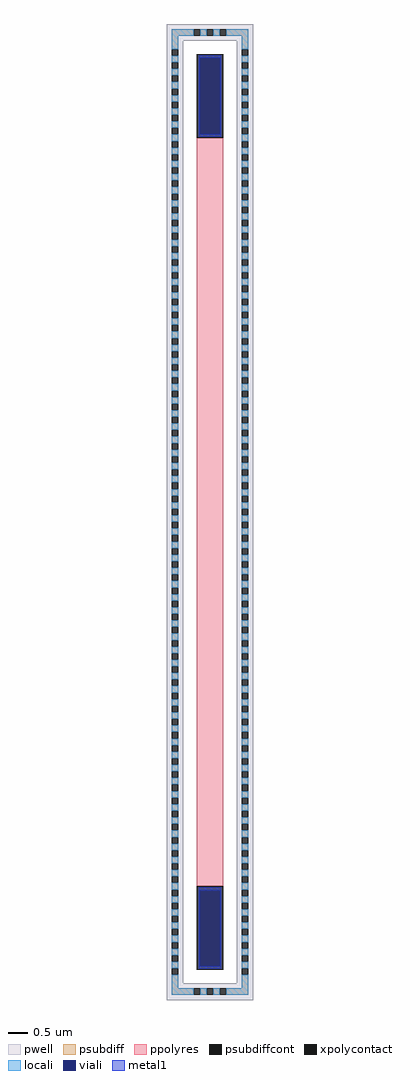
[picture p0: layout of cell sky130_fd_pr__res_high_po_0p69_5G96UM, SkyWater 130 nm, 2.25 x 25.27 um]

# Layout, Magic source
magic
tech sky130A
magscale 1 2
<< pwell >>
rect -225 2441 225 2527
rect -225 -2441 -139 2441
rect 139 -2441 225 2441
rect -225 -2527 225 -2441
<< psubdiff >>
rect -199 2467 -85 2501
rect -51 2467 -17 2501
rect 17 2467 51 2501
rect 85 2467 199 2501
rect -199 2397 -165 2467
rect 165 2397 199 2467
rect -199 2329 -165 2363
rect -199 2261 -165 2295
rect -199 2193 -165 2227
rect -199 2125 -165 2159
rect -199 2057 -165 2091
rect -199 1989 -165 2023
rect -199 1921 -165 1955
rect -199 1853 -165 1887
rect -199 1785 -165 1819
rect -199 1717 -165 1751
rect -199 1649 -165 1683
rect -199 1581 -165 1615
rect -199 1513 -165 1547
rect -199 1445 -165 1479
rect -199 1377 -165 1411
rect -199 1309 -165 1343
rect -199 1241 -165 1275
rect -199 1173 -165 1207
rect -199 1105 -165 1139
rect -199 1037 -165 1071
rect -199 969 -165 1003
rect -199 901 -165 935
rect -199 833 -165 867
rect -199 765 -165 799
rect -199 697 -165 731
rect -199 629 -165 663
rect -199 561 -165 595
rect -199 493 -165 527
rect -199 425 -165 459
rect -199 357 -165 391
rect -199 289 -165 323
rect -199 221 -165 255
rect -199 153 -165 187
rect -199 85 -165 119
rect -199 17 -165 51
rect -199 -51 -165 -17
rect -199 -119 -165 -85
rect -199 -187 -165 -153
rect -199 -255 -165 -221
rect -199 -323 -165 -289
rect -199 -391 -165 -357
rect -199 -459 -165 -425
rect -199 -527 -165 -493
rect -199 -595 -165 -561
rect -199 -663 -165 -629
rect -199 -731 -165 -697
rect -199 -799 -165 -765
rect -199 -867 -165 -833
rect -199 -935 -165 -901
rect -199 -1003 -165 -969
rect -199 -1071 -165 -1037
rect -199 -1139 -165 -1105
rect -199 -1207 -165 -1173
rect -199 -1275 -165 -1241
rect -199 -1343 -165 -1309
rect -199 -1411 -165 -1377
rect -199 -1479 -165 -1445
rect -199 -1547 -165 -1513
rect -199 -1615 -165 -1581
rect -199 -1683 -165 -1649
rect -199 -1751 -165 -1717
rect -199 -1819 -165 -1785
rect -199 -1887 -165 -1853
rect -199 -1955 -165 -1921
rect -199 -2023 -165 -1989
rect -199 -2091 -165 -2057
rect -199 -2159 -165 -2125
rect -199 -2227 -165 -2193
rect -199 -2295 -165 -2261
rect -199 -2363 -165 -2329
rect 165 2329 199 2363
rect 165 2261 199 2295
rect 165 2193 199 2227
rect 165 2125 199 2159
rect 165 2057 199 2091
rect 165 1989 199 2023
rect 165 1921 199 1955
rect 165 1853 199 1887
rect 165 1785 199 1819
rect 165 1717 199 1751
rect 165 1649 199 1683
rect 165 1581 199 1615
rect 165 1513 199 1547
rect 165 1445 199 1479
rect 165 1377 199 1411
rect 165 1309 199 1343
rect 165 1241 199 1275
rect 165 1173 199 1207
rect 165 1105 199 1139
rect 165 1037 199 1071
rect 165 969 199 1003
rect 165 901 199 935
rect 165 833 199 867
rect 165 765 199 799
rect 165 697 199 731
rect 165 629 199 663
rect 165 561 199 595
rect 165 493 199 527
rect 165 425 199 459
rect 165 357 199 391
rect 165 289 199 323
rect 165 221 199 255
rect 165 153 199 187
rect 165 85 199 119
rect 165 17 199 51
rect 165 -51 199 -17
rect 165 -119 199 -85
rect 165 -187 199 -153
rect 165 -255 199 -221
rect 165 -323 199 -289
rect 165 -391 199 -357
rect 165 -459 199 -425
rect 165 -527 199 -493
rect 165 -595 199 -561
rect 165 -663 199 -629
rect 165 -731 199 -697
rect 165 -799 199 -765
rect 165 -867 199 -833
rect 165 -935 199 -901
rect 165 -1003 199 -969
rect 165 -1071 199 -1037
rect 165 -1139 199 -1105
rect 165 -1207 199 -1173
rect 165 -1275 199 -1241
rect 165 -1343 199 -1309
rect 165 -1411 199 -1377
rect 165 -1479 199 -1445
rect 165 -1547 199 -1513
rect 165 -1615 199 -1581
rect 165 -1683 199 -1649
rect 165 -1751 199 -1717
rect 165 -1819 199 -1785
rect 165 -1887 199 -1853
rect 165 -1955 199 -1921
rect 165 -2023 199 -1989
rect 165 -2091 199 -2057
rect 165 -2159 199 -2125
rect 165 -2227 199 -2193
rect 165 -2295 199 -2261
rect 165 -2363 199 -2329
rect -199 -2467 -165 -2397
rect 165 -2467 199 -2397
rect -199 -2501 -85 -2467
rect -51 -2501 -17 -2467
rect 17 -2501 51 -2467
rect 85 -2501 199 -2467
<< psubdiffcont >>
rect -85 2467 -51 2501
rect -17 2467 17 2501
rect 51 2467 85 2501
rect -199 2363 -165 2397
rect -199 2295 -165 2329
rect -199 2227 -165 2261
rect -199 2159 -165 2193
rect -199 2091 -165 2125
rect -199 2023 -165 2057
rect -199 1955 -165 1989
rect -199 1887 -165 1921
rect -199 1819 -165 1853
rect -199 1751 -165 1785
rect -199 1683 -165 1717
rect -199 1615 -165 1649
rect -199 1547 -165 1581
rect -199 1479 -165 1513
rect -199 1411 -165 1445
rect -199 1343 -165 1377
rect -199 1275 -165 1309
rect -199 1207 -165 1241
rect -199 1139 -165 1173
rect -199 1071 -165 1105
rect -199 1003 -165 1037
rect -199 935 -165 969
rect -199 867 -165 901
rect -199 799 -165 833
rect -199 731 -165 765
rect -199 663 -165 697
rect -199 595 -165 629
rect -199 527 -165 561
rect -199 459 -165 493
rect -199 391 -165 425
rect -199 323 -165 357
rect -199 255 -165 289
rect -199 187 -165 221
rect -199 119 -165 153
rect -199 51 -165 85
rect -199 -17 -165 17
rect -199 -85 -165 -51
rect -199 -153 -165 -119
rect -199 -221 -165 -187
rect -199 -289 -165 -255
rect -199 -357 -165 -323
rect -199 -425 -165 -391
rect -199 -493 -165 -459
rect -199 -561 -165 -527
rect -199 -629 -165 -595
rect -199 -697 -165 -663
rect -199 -765 -165 -731
rect -199 -833 -165 -799
rect -199 -901 -165 -867
rect -199 -969 -165 -935
rect -199 -1037 -165 -1003
rect -199 -1105 -165 -1071
rect -199 -1173 -165 -1139
rect -199 -1241 -165 -1207
rect -199 -1309 -165 -1275
rect -199 -1377 -165 -1343
rect -199 -1445 -165 -1411
rect -199 -1513 -165 -1479
rect -199 -1581 -165 -1547
rect -199 -1649 -165 -1615
rect -199 -1717 -165 -1683
rect -199 -1785 -165 -1751
rect -199 -1853 -165 -1819
rect -199 -1921 -165 -1887
rect -199 -1989 -165 -1955
rect -199 -2057 -165 -2023
rect -199 -2125 -165 -2091
rect -199 -2193 -165 -2159
rect -199 -2261 -165 -2227
rect -199 -2329 -165 -2295
rect -199 -2397 -165 -2363
rect 165 2363 199 2397
rect 165 2295 199 2329
rect 165 2227 199 2261
rect 165 2159 199 2193
rect 165 2091 199 2125
rect 165 2023 199 2057
rect 165 1955 199 1989
rect 165 1887 199 1921
rect 165 1819 199 1853
rect 165 1751 199 1785
rect 165 1683 199 1717
rect 165 1615 199 1649
rect 165 1547 199 1581
rect 165 1479 199 1513
rect 165 1411 199 1445
rect 165 1343 199 1377
rect 165 1275 199 1309
rect 165 1207 199 1241
rect 165 1139 199 1173
rect 165 1071 199 1105
rect 165 1003 199 1037
rect 165 935 199 969
rect 165 867 199 901
rect 165 799 199 833
rect 165 731 199 765
rect 165 663 199 697
rect 165 595 199 629
rect 165 527 199 561
rect 165 459 199 493
rect 165 391 199 425
rect 165 323 199 357
rect 165 255 199 289
rect 165 187 199 221
rect 165 119 199 153
rect 165 51 199 85
rect 165 -17 199 17
rect 165 -85 199 -51
rect 165 -153 199 -119
rect 165 -221 199 -187
rect 165 -289 199 -255
rect 165 -357 199 -323
rect 165 -425 199 -391
rect 165 -493 199 -459
rect 165 -561 199 -527
rect 165 -629 199 -595
rect 165 -697 199 -663
rect 165 -765 199 -731
rect 165 -833 199 -799
rect 165 -901 199 -867
rect 165 -969 199 -935
rect 165 -1037 199 -1003
rect 165 -1105 199 -1071
rect 165 -1173 199 -1139
rect 165 -1241 199 -1207
rect 165 -1309 199 -1275
rect 165 -1377 199 -1343
rect 165 -1445 199 -1411
rect 165 -1513 199 -1479
rect 165 -1581 199 -1547
rect 165 -1649 199 -1615
rect 165 -1717 199 -1683
rect 165 -1785 199 -1751
rect 165 -1853 199 -1819
rect 165 -1921 199 -1887
rect 165 -1989 199 -1955
rect 165 -2057 199 -2023
rect 165 -2125 199 -2091
rect 165 -2193 199 -2159
rect 165 -2261 199 -2227
rect 165 -2329 199 -2295
rect 165 -2397 199 -2363
rect -85 -2501 -51 -2467
rect -17 -2501 17 -2467
rect 51 -2501 85 -2467
<< xpolycontact >>
rect -69 1939 69 2371
rect -69 -2371 69 -1939
<< ppolyres >>
rect -69 -1939 69 1939
<< locali >>
rect -199 2467 -85 2501
rect -51 2467 -17 2501
rect 17 2467 51 2501
rect 85 2467 199 2501
rect -199 2397 -165 2467
rect 165 2397 199 2467
rect -199 2329 -165 2363
rect -199 2261 -165 2295
rect -199 2193 -165 2227
rect -199 2125 -165 2159
rect -199 2057 -165 2091
rect -199 1989 -165 2023
rect -199 1921 -165 1955
rect 165 2329 199 2363
rect 165 2261 199 2295
rect 165 2193 199 2227
rect 165 2125 199 2159
rect 165 2057 199 2091
rect 165 1989 199 2023
rect -199 1853 -165 1887
rect -199 1785 -165 1819
rect -199 1717 -165 1751
rect -199 1649 -165 1683
rect -199 1581 -165 1615
rect -199 1513 -165 1547
rect -199 1445 -165 1479
rect -199 1377 -165 1411
rect -199 1309 -165 1343
rect -199 1241 -165 1275
rect -199 1173 -165 1207
rect -199 1105 -165 1139
rect -199 1037 -165 1071
rect -199 969 -165 1003
rect -199 901 -165 935
rect -199 833 -165 867
rect -199 765 -165 799
rect -199 697 -165 731
rect -199 629 -165 663
rect -199 561 -165 595
rect -199 493 -165 527
rect -199 425 -165 459
rect -199 357 -165 391
rect -199 289 -165 323
rect -199 221 -165 255
rect -199 153 -165 187
rect -199 85 -165 119
rect -199 17 -165 51
rect -199 -51 -165 -17
rect -199 -119 -165 -85
rect -199 -187 -165 -153
rect -199 -255 -165 -221
rect -199 -323 -165 -289
rect -199 -391 -165 -357
rect -199 -459 -165 -425
rect -199 -527 -165 -493
rect -199 -595 -165 -561
rect -199 -663 -165 -629
rect -199 -731 -165 -697
rect -199 -799 -165 -765
rect -199 -867 -165 -833
rect -199 -935 -165 -901
rect -199 -1003 -165 -969
rect -199 -1071 -165 -1037
rect -199 -1139 -165 -1105
rect -199 -1207 -165 -1173
rect -199 -1275 -165 -1241
rect -199 -1343 -165 -1309
rect -199 -1411 -165 -1377
rect -199 -1479 -165 -1445
rect -199 -1547 -165 -1513
rect -199 -1615 -165 -1581
rect -199 -1683 -165 -1649
rect -199 -1751 -165 -1717
rect -199 -1819 -165 -1785
rect -199 -1887 -165 -1853
rect -199 -1955 -165 -1921
rect 165 1921 199 1955
rect 165 1853 199 1887
rect 165 1785 199 1819
rect 165 1717 199 1751
rect 165 1649 199 1683
rect 165 1581 199 1615
rect 165 1513 199 1547
rect 165 1445 199 1479
rect 165 1377 199 1411
rect 165 1309 199 1343
rect 165 1241 199 1275
rect 165 1173 199 1207
rect 165 1105 199 1139
rect 165 1037 199 1071
rect 165 969 199 1003
rect 165 901 199 935
rect 165 833 199 867
rect 165 765 199 799
rect 165 697 199 731
rect 165 629 199 663
rect 165 561 199 595
rect 165 493 199 527
rect 165 425 199 459
rect 165 357 199 391
rect 165 289 199 323
rect 165 221 199 255
rect 165 153 199 187
rect 165 85 199 119
rect 165 17 199 51
rect 165 -51 199 -17
rect 165 -119 199 -85
rect 165 -187 199 -153
rect 165 -255 199 -221
rect 165 -323 199 -289
rect 165 -391 199 -357
rect 165 -459 199 -425
rect 165 -527 199 -493
rect 165 -595 199 -561
rect 165 -663 199 -629
rect 165 -731 199 -697
rect 165 -799 199 -765
rect 165 -867 199 -833
rect 165 -935 199 -901
rect 165 -1003 199 -969
rect 165 -1071 199 -1037
rect 165 -1139 199 -1105
rect 165 -1207 199 -1173
rect 165 -1275 199 -1241
rect 165 -1343 199 -1309
rect 165 -1411 199 -1377
rect 165 -1479 199 -1445
rect 165 -1547 199 -1513
rect 165 -1615 199 -1581
rect 165 -1683 199 -1649
rect 165 -1751 199 -1717
rect 165 -1819 199 -1785
rect 165 -1887 199 -1853
rect -199 -2023 -165 -1989
rect -199 -2091 -165 -2057
rect -199 -2159 -165 -2125
rect -199 -2227 -165 -2193
rect -199 -2295 -165 -2261
rect -199 -2363 -165 -2329
rect 165 -1955 199 -1921
rect 165 -2023 199 -1989
rect 165 -2091 199 -2057
rect 165 -2159 199 -2125
rect 165 -2227 199 -2193
rect 165 -2295 199 -2261
rect 165 -2363 199 -2329
rect -199 -2467 -165 -2397
rect 165 -2467 199 -2397
rect -199 -2501 -85 -2467
rect -51 -2501 -17 -2467
rect 17 -2501 51 -2467
rect 85 -2501 199 -2467
<< viali >>
rect -53 1957 53 2351
rect -53 -2352 53 -1958
<< metal1 >>
rect -59 2351 59 2365
rect -59 1957 -53 2351
rect 53 1957 59 2351
rect -59 1944 59 1957
rect -59 -1958 59 -1944
rect -59 -2352 -53 -1958
rect 53 -2352 59 -1958
rect -59 -2365 59 -2352
<< properties >>
string FIXED_BBOX -182 -2484 182 2484
string GDS_END 12450
string GDS_FILE /home/anton/projects/tt06-grab-bag/gds/tt_um_algofoogle_tt06_grab_bag.gds
string GDS_START 158
<< end >>
